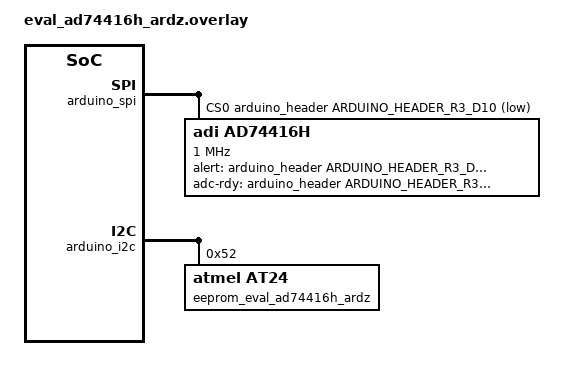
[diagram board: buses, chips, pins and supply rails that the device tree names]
/*
 * Copyright (c) 2026 Terraflow Energy Europe
 *
 * SPDX-License-Identifier: Apache-2.0
 *
 * EVAL-AD74416H-ARDZ, schematic 02_074829 Rev. C, jumpers in the default
 * positions of user guide UG-2153 Table 1.
 *
 * Every digital signal crosses an ADuM341E or ADuM342E isolator, so the
 * Arduino side only sees the isolator outputs. RESET (D4, header P40) and the
 * GPIO_F input (A5, header P41) are open by default and are not described
 * here; the driver then uses the software reset.
 */

#include <zephyr/dt-bindings/gpio/arduino-header-r3.h>
#include <zephyr/dt-bindings/mfd/ad74416h.h>

/ {
	/*
	 * Green LEDs DS1 to DS6 on GPIO_A to GPIO_F. Disabled by default: the
	 * LED driver configures every pin as an output at boot. With the
	 * default jumpers the pins only drive the LEDs, but an output conflicts
	 * with a smart blocking diode control (P45, P47, P49, P51 fitted), with
	 * GPIO controlled digital outputs and with GPIO_F driven from A5 (P41
	 * fitted).
	 */
	ad74416h_leds: ad74416h-leds {
		compatible = "gpio-leds";
		status = "disabled";

		ad74416h_led_a: led-a {
			gpios = <&ad74416h_gpio 0 GPIO_ACTIVE_HIGH>;
			label = "DS1 GPIO_A";
		};

		ad74416h_led_b: led-b {
			gpios = <&ad74416h_gpio 1 GPIO_ACTIVE_HIGH>;
			label = "DS2 GPIO_B";
		};

		ad74416h_led_c: led-c {
			gpios = <&ad74416h_gpio 2 GPIO_ACTIVE_HIGH>;
			label = "DS3 GPIO_C";
		};

		ad74416h_led_d: led-d {
			gpios = <&ad74416h_gpio 3 GPIO_ACTIVE_HIGH>;
			label = "DS4 GPIO_D";
		};

		ad74416h_led_e: led-e {
			gpios = <&ad74416h_gpio 4 GPIO_ACTIVE_HIGH>;
			label = "DS5 GPIO_E";
		};

		ad74416h_led_f: led-f {
			gpios = <&ad74416h_gpio 5 GPIO_ACTIVE_HIGH>;
			label = "DS6 GPIO_F";
		};
	};
};

&arduino_spi {
	status = "okay";
	/*
	 * SYNC must rise after every 40-bit frame, so it is driven as a GPIO
	 * chip select. Header P8 selects D10 (uc_SYNCB) by default.
	 */
	cs-gpios = <&arduino_header ARDUINO_HEADER_R3_D10 GPIO_ACTIVE_LOW>;

	ad74416h: ad74416h@0 {
		compatible = "adi,ad74416h";
		reg = <0>;
		/* Conservative until the isolator round-trip delay is validated */
		spi-max-frequency = <DT_FREQ_M(1)>;
		/* SPI address 0: both jumpers on P11 */
		adi,dev-addr = <0>;
		/*
		 * The ADR4525 drives REFIO through P44, so adi,internal-ref is
		 * not set. Add it only with P44 open.
		 */
		/*
		 * Open-drain buffers U4 and U5 with 4.7 kOhm pull-ups to the
		 * isolator supply, headers P42 and P43 closed.
		 */
		alert-gpios = <&arduino_header ARDUINO_HEADER_R3_D7 GPIO_ACTIVE_LOW>;
		adc-rdy-gpios = <&arduino_header ARDUINO_HEADER_R3_D2 GPIO_ACTIVE_LOW>;

		#address-cells = <1>;
		#size-cells = <0>;

		ad74416h_adc: adc {
			compatible = "adi,ad74416h-adc";
			#io-channel-cells = <1>;
		};

		ad74416h_dac: dac {
			compatible = "adi,ad74416h-dac";
			#io-channel-cells = <1>;
		};

		ad74416h_gpio: gpio {
			compatible = "adi,ad74416h-gpio";
			gpio-controller;
			#gpio-cells = <2>;
		};
	};
};

&arduino_i2c {
	status = "okay";

	/*
	 * 24AA32A, A1 pulled up, A0 and A2 pulled down. It holds the board
	 * identification read by the ADI ACE software, so it is read-only here.
	 */
	eeprom_eval_ad74416h_ardz: eeprom@52 {
		compatible = "atmel,at24";
		reg = <0x52>;
		size = <DT_SIZE_K(4)>;
		pagesize = <32>;
		address-width = <16>;
		timeout = <5>;
		read-only;
	};
};
